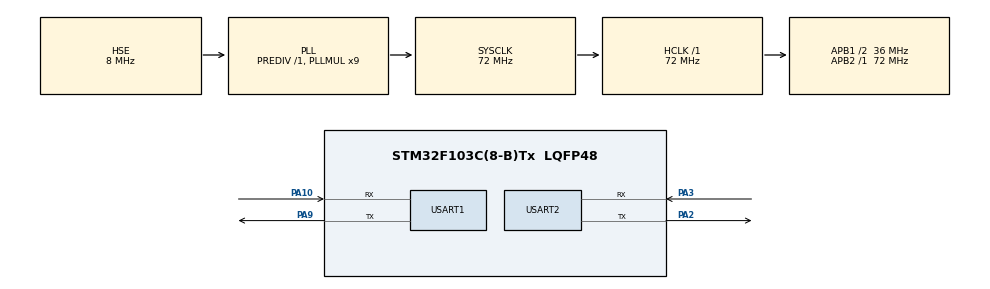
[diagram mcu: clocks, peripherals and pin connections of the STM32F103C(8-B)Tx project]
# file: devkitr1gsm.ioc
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Mcu.Family=STM32F1
Mcu.Name=STM32F103C(8-B)Tx
Mcu.Package=LQFP48
NVIC.PriorityGroup=NVIC_PRIORITYGROUP_4
NVIC.USART1_IRQn=true\:0\:0\:false\:false\:true\:true\:true
NVIC.USART2_IRQn=true\:0\:0\:false\:false\:true\:true\:true
PA10.Mode=Asynchronous
PA10.Signal=USART1_RX
PA2.Mode=Asynchronous
PA2.Signal=USART2_TX
PA3.Mode=Asynchronous
PA3.Signal=USART2_RX
PA9.Mode=Asynchronous
PA9.Signal=USART1_TX
PD0-OSC_IN.Mode=HSE-External-Oscillator
PD0-OSC_IN.Signal=RCC_OSC_IN
PD1-OSC_OUT.Mode=HSE-External-Oscillator
PD1-OSC_OUT.Signal=RCC_OSC_OUT
ProjectManager.HeapSize=0x200
ProjectManager.StackSize=0x400
ProjectManager.TargetToolchain=STM32CubeIDE
RCC.AHBFreq_Value=72000000
RCC.APB1CLKDivider=RCC_HCLK_DIV2
RCC.APB1Freq_Value=36000000
RCC.APB1TimFreq_Value=72000000
RCC.APB2Freq_Value=72000000
RCC.APB2TimFreq_Value=72000000
RCC.HCLKFreq_Value=72000000
RCC.PLLMUL=RCC_PLL_MUL9
RCC.PLLSourceVirtual=RCC_PLLSOURCE_HSE
RCC.SYSCLKFreq_VALUE=72000000
RCC.SYSCLKSource=RCC_SYSCLKSOURCE_PLLCLK
RCC.USBFreq_Value=72000000
USART1.VirtualMode=VM_ASYNC
USART2.VirtualMode=VM_ASYNC
VP_SYS_VS_ND.Mode=No_Debug
board=custom

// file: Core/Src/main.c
/* USER CODE BEGIN Header */
/**
  ******************************************************************************
  * @file           : main.c
  * @brief          : Main program body
  ******************************************************************************
  * @attention
  *
  * <h2><center>&copy; Copyright (c) 2020 STMicroelectronics.
  * All rights reserved.</center></h2>
  *
  * This software component is licensed by ST under BSD 3-Clause license,
  * the "License"; You may not use this file except in compliance with the
  * License. You may obtain a copy of the License at:
  *                        opensource.org/licenses/BSD-3-Clause
  *
  ******************************************************************************
  */
/* USER CODE END Header */

#include "main.h"
#include "usart.h"
#include "gpio.h"

/* USER CODE BEGIN Includes */
#include <stdlib.h>
#include <string.h>
#include <stdio.h>
#include <assert.h>

#include "../../Systick/gsm_systick.h"
#include "../../GSM/gsm.h"
/* USER CODE END Includes */

/* USER CODE BEGIN PTD */
GSMModuleState gsmModuleState;
/* USER CODE END PTD */

/* USER CODE BEGIN PV */
uint8_t apn_netw[30] = {"iot.safaricom.com"};
uint8_t apn_user[10] = {"none"};
uint8_t apn_pass[10] = {"none"};

int sent_failed_count = 0;
uint8_t tcp_connection_failed_count = 0;
uint32_t sim_disconnected = 0;
uint8_t command_failed_count = 0;
int sim_module_on_counter = 0;

const char *test_endpoint = "broker.africastalking.com";
int test_port = 1883;
/* USER CODE END PV */

void SystemClock_Config(void);

int main(void)
{

  /* MCU Configuration--------------------------------------------------------*/

  /* Reset of all peripherals, Initializes the Flash interface and the Systick. */
  HAL_Init();

  /* Configure the system clock */
  SystemClock_Config();

  /* Initialize all configured peripherals */
  MX_GPIO_Init();
  MX_USART1_UART_Init();
  MX_USART2_UART_Init();
  /* USER CODE BEGIN 2 */
  UART1FIFOInit();
  UART2FIFOInit();
  serialPrint("\nStarting up\r\n");
  uint8_t data_length;
  uint8_t data_bucket[100];
  /* USER CODE END 2 */

  /* Infinite loop */
  while (1)
  {

    /* USER CODE BEGIN 3 */
    if (gsmModuleState == Off)
    {
      serialPrint("\nSIM State is Off.Initializing\r\n");
      if (initializeSIMModule())
      {
        gsmModuleState = On;
        serialPrint("\nSIM Module initilized\r\n");
      }
    }
    if (gsmModuleState == On)
    {
      serialPrint("\nSIM module is on\r\n");
      char count_data[100];
      snprintf(count_data, sizeof(count_data), "Counter is at: %i \r\n", sim_module_on_counter);
      serialPrint(count_data);
      sim_module_on_counter++;
      if (sim_module_on_counter > 300)
      {
        // Should we reset the SIM Module after 300 cycles?
        serialPrint("\nReset ?\r\n");
        //TODO: Hack Find a way to cycle
        sim_module_on_counter = 0;
        gsmModuleState = Off;
        sent_failed_count = 0;
        tcp_connection_failed_count = 0;
      }
      if (checkSIMNetworkState())
      {
        if (setupTCP())
        {
          gsmModuleState = Registered;
          serialPrint("\nNetwork registered\r\n");
        }
      }
    }
    if (sent_failed_count > 10)
    {
      gsmModuleState = On;
      sent_failed_count = 0;
      tcp_connection_failed_count = 0;
      serialPrint("\nGPRS Connection failed\r\n");
    }
    if (tcp_connection_failed_count > 20)
    {
      gsmModuleState = On;
      tcp_connection_failed_count = 0;
      sent_failed_count = 0;
      serialPrint("\nTCP Connection failed\r\n");
    }
    if (gsmModuleState == Registered)
    {
      gsmKeepAlive();
      getTCPStatus(300);
      if (tcpConnectionObject.state == CONNECTED)
      {
        serialPrint("\nConnected to TCP Endpoint.\r\n");
      }
      else if ((tcpConnectionObject.state == CLOSED) || (tcpConnectionObject.state == INITIAL))
      {
        data_length = snprintf((char *)data_bucket, 64, "AT+CIPSTART=0,\"TCP\",\"%s\",\"%i\"\r", test_endpoint, test_port);
        if (sendATCommand(data_bucket, data_length, "CONNECT OK", 300))
        {
          serialPrint("\nConnected to endpoint\r\n");
        }
        else
        {
          serialPrint("\nTCP Connection failed\r\n");
          sent_failed_count++;
        }
      }
    }
    if (tcpConnectionObject.state == CONNECTED)
    {
      serialPrint("\nStill connected...Nothing to do \r\n");
      HAL_Delay(5000);
    }
    else
    {
      serialPrint("\nDisconnected\r\n");
    }
  }
  /* USER CODE END 3 */
}

void SystemClock_Config(void)
{
  RCC_OscInitTypeDef RCC_OscInitStruct = {0};
  RCC_ClkInitTypeDef RCC_ClkInitStruct = {0};

  /** Initializes the CPU, AHB and APB busses clocks
  */
  RCC_OscInitStruct.OscillatorType = RCC_OSCILLATORTYPE_HSE;
  RCC_OscInitStruct.HSEState = RCC_HSE_ON;
  RCC_OscInitStruct.HSEPredivValue = RCC_HSE_PREDIV_DIV1;
  RCC_OscInitStruct.HSIState = RCC_HSI_ON;
  RCC_OscInitStruct.PLL.PLLState = RCC_PLL_ON;
  RCC_OscInitStruct.PLL.PLLSource = RCC_PLLSOURCE_HSE;
  RCC_OscInitStruct.PLL.PLLMUL = RCC_PLL_MUL9;
  if (HAL_RCC_OscConfig(&RCC_OscInitStruct) != HAL_OK)
  {
    Error_Handler();
  }
  /** Initializes the CPU, AHB and APB busses clocks
  */
  RCC_ClkInitStruct.ClockType = RCC_CLOCKTYPE_HCLK | RCC_CLOCKTYPE_SYSCLK | RCC_CLOCKTYPE_PCLK1 | RCC_CLOCKTYPE_PCLK2;
  RCC_ClkInitStruct.SYSCLKSource = RCC_SYSCLKSOURCE_PLLCLK;
  RCC_ClkInitStruct.AHBCLKDivider = RCC_SYSCLK_DIV1;
  RCC_ClkInitStruct.APB1CLKDivider = RCC_HCLK_DIV2;
  RCC_ClkInitStruct.APB2CLKDivider = RCC_HCLK_DIV1;

  if (HAL_RCC_ClockConfig(&RCC_ClkInitStruct, FLASH_LATENCY_2) != HAL_OK)
  {
    Error_Handler();
  }
}

/* USER CODE BEGIN 4 */
int serialPrint(const char *string_format, ...)
{
  if (DEVEL)
  {
    return printf(string_format);
  }
  else
  {
    return 0;
  }
}

int __io_putchar(uint8_t ch)
{
  if (ch)
  {
    UART1PutChar(ch);
    return ch;
  }
  else
  {
    return 0;
  }
}
/* USER CODE END 4 */

void Error_Handler(void)
{
}

/************************ (C) COPYRIGHT STMicroelectronics *****END OF FILE****/
